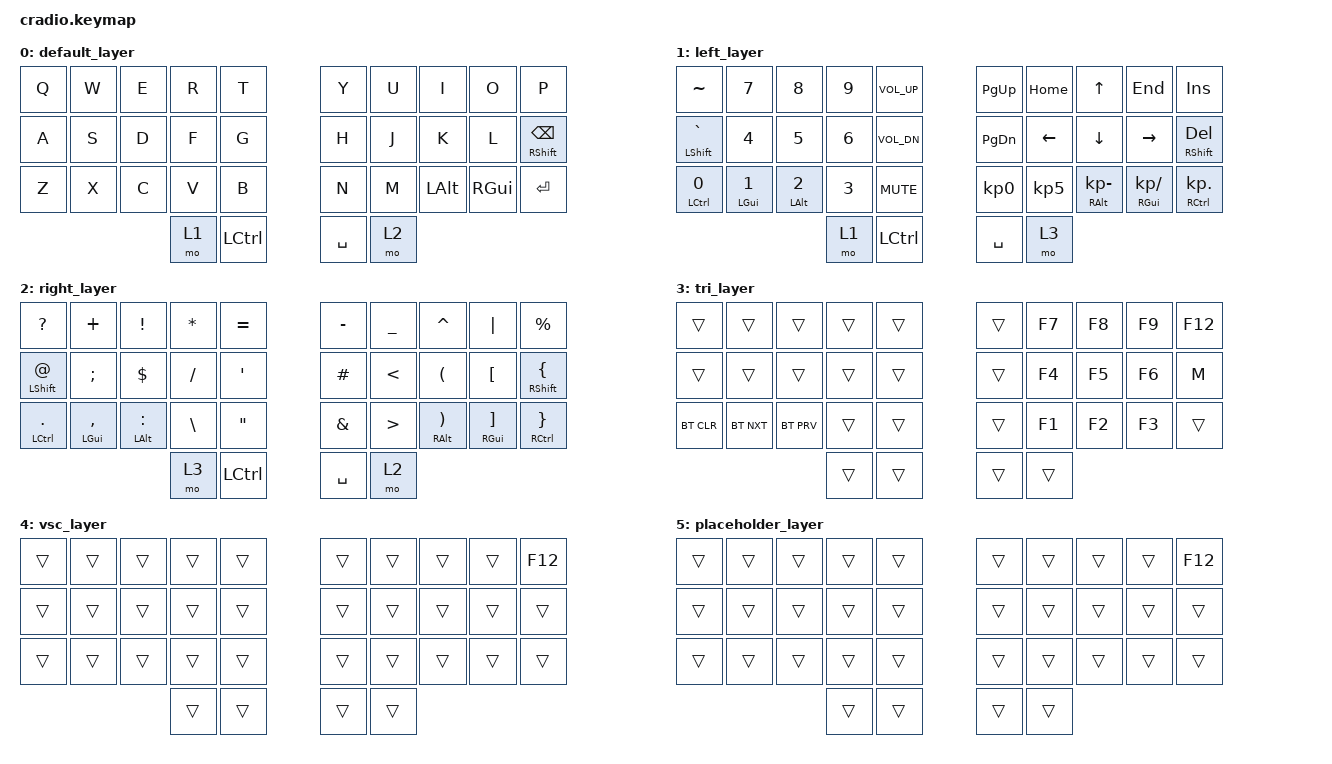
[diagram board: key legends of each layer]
/*
 * Copyright (c) 2020 The ZMK Contributors
 *
 * SPDX-License-Identifier: MIT
 */

#include <behaviors.dtsi>
#include <dt-bindings/zmk/keys.h>
#include <dt-bindings/zmk/bt.h>

&mt {
   // flavor = "tap-preferred";
   // tapping_term_ms = <200>;
};

/ { 
    combos {
        compatible = "zmk,combos";
        combo_esc {
            timeout-ms = <50>;
            key-positions = <0 1>;
            bindings = <&kp ESC>;
        };
         combo_tab {
            timeout-ms = <50>;
            key-positions = <10 11>;
            bindings = <&kp TAB>;
        };
        combo_ralt {
            timeout-ms = <50>;
            key-positions = <17 16>;
            bindings = <&kp RALT>;
        };
        combo_lalt {
            timeout-ms = <50>;
            key-positions = <11 12>;
            bindings = <&kp LALT>;
        };
        combo_lgui {
            timeout-ms = <50>;
            key-positions = <12 13>;
            bindings = <&kp LGUI>;
        };
        combo_rgui {
            timeout-ms = <50>;
            key-positions = <17 18>;
            bindings = <&kp RGUI>;
        };        
    };

    keymap {
        compatible = "zmk,keymap";
        default_layer {
            bindings = <
            &kp Q	        &kp W	        &kp E	        &kp R	        &kp T					&kp Y	        &kp U	        &kp I	        &kp O	        &kp P
            &kp A   	    &kp S	        &kp D	        &kp F	        &kp G				    &kp H	        &kp J	        &kp K	        &kp L	        &mt RSHFT BSPC
            &kp Z           &kp X	        &kp C	        &kp V	        &kp B				    &kp N	        &kp M	        &kp LALT	    &kp RGUI	    &kp RET
                                                            &mo 1           &kp LCTRL  				&kp SPACE       &mo 2
            >;
        };
        left_layer {
            bindings = <
            &kp TILDE       &kp N7          &kp N8          &kp N9          &kp C_VOL_UP		    &kp PG_UP       &kp HOME        &kp UP          &kp END         &kp INS
            &mt LSHFT GRAVE	&kp N4    	    &kp N5    	    &kp N6          &kp C_VOL_DN		    &kp PG_DN	    &kp LEFT        &kp DOWN        &kp RIGHT	    &mt RSHFT DEL
            &mt LCTRL N0    &mt LGUI N1	    &mt LALT N2     &kp N3	        &kp C_MUTE			    &kp KP_N0	    &kp KP_N5	    &mt RALT KP_MINUS &mt RGUI KP_DIVIDE &mt RCTRL KP_DOT
                                                            &mo 1           &kp LCTRL  			    &kp SPACE       &mo 3
            >;
        };
        right_layer {
            bindings = <
            &kp QMARK       &kp PLUS        &kp EXCL        &kp STAR        &kp EQUAL		        &kp MINUS       &kp UNDER       &kp CARET       &kp PIPE        &kp PRCNT
            &mt LSHFT AT 	&kp SEMI	    &kp DLLR	    &kp FSLH	    &kp SQT			        &kp HASH	    &kp LT	        &kp LPAR	    &kp LBKT	    &mt RSHFT LBRC
            &mt LCTRL DOT   &mt LGUI COMMA	&mt LALT COLON	&kp BSLH	    &kp DQT				    &kp AMPS	    &kp GT	        &mt RALT RPAR	&mt RGUI RBKT	&mt RCTRL RBRC
                                                            &mo 3           &kp LCTRL  			    &kp SPACE       &mo 2
            >;
        };
        tri_layer {
            bindings = <
            &trans          &trans          &trans          &trans          &trans 			        &trans          &kp F7          &kp F8          &kp F9          &kp F12
            &trans          &trans          &trans          &trans          &trans  		        &trans          &kp F4          &kp F5          &kp F6          &kp M
            &bt BT_CLR      &bt BT_NXT      &bt BT_PRV      &trans          &trans   		        &trans          &kp F1          &kp F2          &kp F3          &trans
                                                            &trans          &trans  		        &trans          &trans
            >;
        };  
        vsc_layer {
            bindings = <
            &trans          &trans          &trans          &trans          &trans 			        &trans          &trans          &trans          &trans          &kp F12
            &trans          &trans          &trans          &trans          &trans  		        &trans          &trans          &trans          &trans          &trans
            &trans          &trans          &trans          &trans          &trans   		        &trans          &trans          &trans          &trans          &trans
                                                            &trans          &trans  		        &trans          &trans
            >;
        };  
        placeholder_layer {
            bindings = <
            &trans          &trans          &trans          &trans          &trans 			        &trans          &trans          &trans          &trans          &kp F12
            &trans          &trans          &trans          &trans          &trans  		        &trans          &trans          &trans          &trans          &trans
            &trans          &trans          &trans          &trans          &trans   		        &trans          &trans          &trans          &trans          &trans
                                                            &trans          &trans  		        &trans          &trans
            >;
        };  
	};
};
